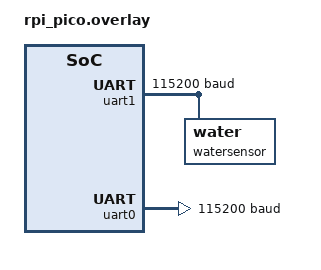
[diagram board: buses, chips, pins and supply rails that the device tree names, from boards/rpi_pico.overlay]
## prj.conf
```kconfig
# Copyright (c) 2021 Nordic Semiconductor ASA
# SPDX-License-Identifier: Apache-2.0

# Enable required Zephyr driver classes
CONFIG_SENSOR=y
CONFIG_WATER=y
CONFIG_SERIAL=y
CONFIG_GPIO=y
CONFIG_WATER_OVER_1X=y
CONFIG_WATER_RES_1X=y
```

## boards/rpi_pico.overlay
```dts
/{
aliases{
	wateralias = &watersensor;
};
};

&uart1 {
	status = "okay";
	current-speed = <115200>;
	#address-cells = <1>;
	#size-cells = <0>;
		watersensor: water {
		compatible = "water";
		status = "okay";
};
};

&uart0 {
    status = "okay";
    current-speed = <115200>;
};
```

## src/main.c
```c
// /* Application Code */

#include <stdio.h>
#include <zephyr/device.h>
#include <zephyr/devicetree.h>
#include <zephyr/drivers/gpio.h>
#include <zephyr/drivers/sensor.h>
#include <zephyr/kernel.h>
#include <zephyr/logging/log.h>
#include <app_version.h>

LOG_MODULE_REGISTER(main, CONFIG_APP_LOG_LEVEL);

int main() {
  
	printk("Zephyr Example Application %s\n", APP_VERSION_STRING);
const struct device *sensor;
	sensor = device_get_binding("water");
	if (!device_is_ready(sensor)) {
		LOG_ERR("Sensor not ready");
		return 0;
	}


  while (1) {
    
    k_sleep(K_MSEC(1000));
  }
}
```
